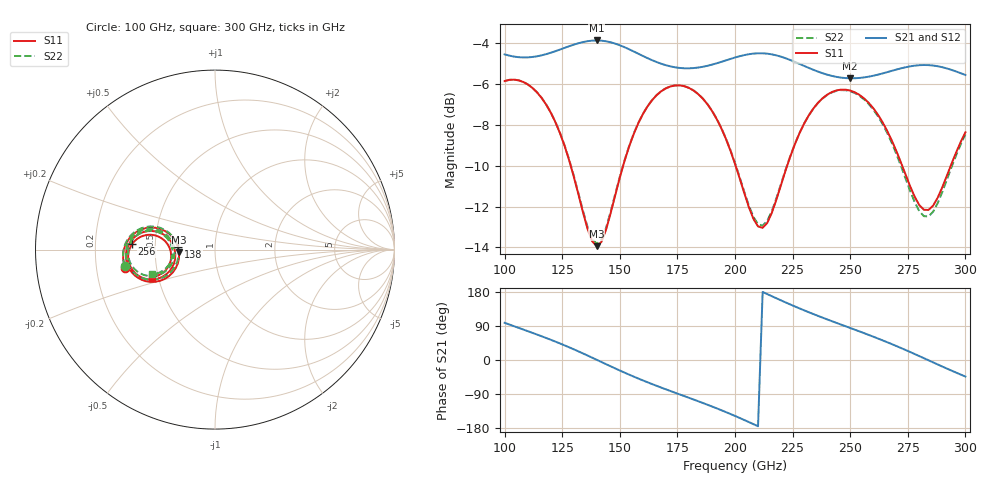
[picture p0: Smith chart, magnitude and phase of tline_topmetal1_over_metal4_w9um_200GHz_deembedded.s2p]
! Created with skrf 2.0.1 (http://scikit-rf.org).
# GHz S DB R 50.0
!freq dBS11 angS11 dBS21 angS21 dBS12 angS12 dBS22 angS22
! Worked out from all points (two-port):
!   101 points, 100 GHz to 300 GHz, reference 50 ohm
!   highest |S21| = -3.86 dB at 140 GHz (marker M1); lowest = -5.7 dB at 250 GHz (marker M2)
!   |S21| within 3 dB of the highest: start of sweep to end of sweep
!   lowest |S11| = -13.9 dB at 140 GHz (marker M3), VSWR 1.50, Z = 33.3 - j1.09 ohm
!   |S11| at or under -10 dB: 128.7 GHz to 151.5 GHz (22.78 GHz wide, 16.3 % of centre); 200.3 GHz to 222.7 GHz (22.38 GHz wide, 10.6 % of centre); 272.6 GHz to 293.6 GHz (21.08 GHz wide, 7.45 % of centre)
!   |S22| runs from -13.8 to -5.8 dB; largest |S21 - S12| = 6.8e-14
!   S11 on the Smith chart (normalised r, x): 100 GHz: 0.33, -0.09; 138 GHz: 0.66, +0.02; 256 GHz: 0.37, +0.03; 300 GHz: 0.46, -0.16
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100  -5.85 -168.5  -4.54 98.2  -4.54 98.2  -5.85 -169.5
108  -5.89 -179.9  -4.69 80.6  -4.69 80.6  -5.88 179.2
118  -7.00 167.1  -4.53 58.2  -4.53 58.2  -6.98 166.1
126  -9.02 159.9  -4.22 38.7  -4.22 38.7  -8.99 158.9
134  -12.27 164.1  -3.94 17.4  -3.94 17.4  -12.20 163.1
138  -13.70 176.1  -3.87 6.2  -3.87 6.2  -13.59 174.8
140  -13.94 -175.5  -3.86 0.5  -3.86 0.5  -13.82 -177.0
146  -12.34 -154.8  -3.95 -16.6  -3.95 -16.6  -12.26 -156.7
154  -9.07 -150.4  -4.29 -38.5  -4.29 -38.5  -9.05 -152.3
168  -6.35 -165.0  -5.00 -72.8  -5.00 -72.8  -6.34 -166.9
186  -6.71 172.5  -5.15 -113.3  -5.15 -113.3  -6.70 170.5
200  -9.90 162.9  -4.70 -147.6  -4.70 -147.6  -9.86 161.0
212  -13.04 -173.0  -4.49 179.5  -4.49 179.5  -12.93 -175.5
224  -9.55 -152.6  -4.82 146.5  -4.82 146.5  -9.52 -155.7
234  -7.20 -159.2  -5.30 121.3  -5.30 121.3  -7.20 -162.2
250  -6.31 -177.3  -5.71 84.5  -5.71 84.5  -6.35 179.4
256  -6.70 176.1  -5.67 70.9  -5.67 70.9  -6.75 172.6
268  -8.75 166.9  -5.35 42.1  -5.35 42.1  -8.87 163.1
276  -11.00 170.4  -5.13 21.1  -5.13 21.1  -11.23 166.6
284  -12.17 -171.9  -5.07 -0.8  -5.07 -0.8  -12.48 -174.7
292  -10.48 -157.2  -5.23 -22.7  -5.23 -22.7  -10.67 -159.2
300  -8.36 -156.6  -5.55 -43.6  -5.55 -43.6  -8.46 -158.7
